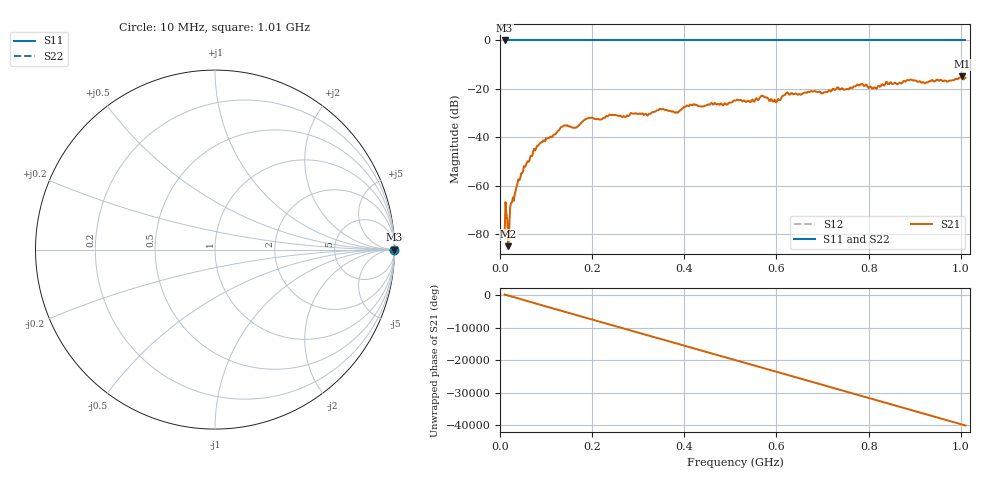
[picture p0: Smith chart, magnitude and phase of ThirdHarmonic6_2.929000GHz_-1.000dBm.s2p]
! 8/17/2025 8:10:34 AM
! C:\ANRITSUVNA\TEMP\TEMP.S2P
! CHANNEL.1
! TR.MEASUREMENT
! RAW.DATA
! RF.CORRECTION.OFF
! AVERAGING.OFF
! IF.BANDWIDTH: 5KHZ
! SWEEPTYPE:  FREQ.SWEEP(Linear)
! Reference Plane Port Info
! PORT:  PORT1  PORT2
! DISTANCE:  0  m  0  m
! TIME:  0  s  0  s
! PHASE.OFFSET:  0  deg.  0  deg.
! LOSS:  0  dB  0  dB
! REF.LOSS:  0  dB  0  dB
! REF.FREQ:  0  Hz  0  Hz
! Power Info
! POWER:  -20  dBm  -20  dBm
! EFF.POWER:  -20  dBm  -20  dBm
! SOURCE.ATTEN:  0  dB  0  dB
! TEST.ATTEN:  0  dB  0  dB
# GHZ S RI R 50.0
! FREQ.GHZ  S11RE  S11IM  S21RE  S21IM  S12RE  S12IM  S22RE  S22IM
!; PortSelection: Port_12
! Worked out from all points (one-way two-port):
!   501 points, 10 MHz to 1.01 GHz, reference 50 ohm
!   highest |S21| = -14.78 dB at 1.002 GHz (marker M1); lowest = -84.9 dB at 18 MHz (marker M2)
!   lowest |S11| = 0.0 dB at 10 MHz (marker M3)
!   |S11| at or under -10 dB: nowhere
!   |S22| runs from 0.0 to 0.0 dB; largest |S21 - S12| = 1.2
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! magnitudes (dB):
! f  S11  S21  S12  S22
! 10 MHz  0.0  -80.2  0.0  0.0
! 18 MHz  0.0  -84.9  0.0  0.0
! 22 MHz  0.0  -68.7  0.0  0.0
! 26 MHz  0.0  -66.8  0.0  0.0
! 42 MHz  0.0  -57.7  0.0  0.0
! 76 MHz  0.0  -45.4  0.0  0.0
! 136 MHz  0.0  -35.5  0.0  0.0
! 162 MHz  0.0  -36.0  0.0  0.0
! 178 MHz  0.0  -33.6  0.0  0.0
! 344 MHz  0.0  -28.8  0.0  0.0
! 382 MHz  0.0  -29.6  0.0  0.0
! 416 MHz  0.0  -26.7  0.0  0.0
! 510 MHz  0.0  -24.8  0.0  0.0
! 570 MHz  0.0  -22.8  0.0  0.0
! 596 MHz  0.0  -24.4  0.0  0.0
! 622 MHz  0.0  -21.6  0.0  0.0
! 678 MHz  0.0  -21.0  0.0  0.0
! 784 MHz  0.0  -18.0  0.0  0.0
! 814 MHz  0.0  -19.4  0.0  0.0
! 844 MHz  0.0  -18.1  0.0  0.0
! 1.002 GHz  0.0  -14.8  0.0  0.0
! 1.01 GHz  0.0  -15.4  0.0  0.0
